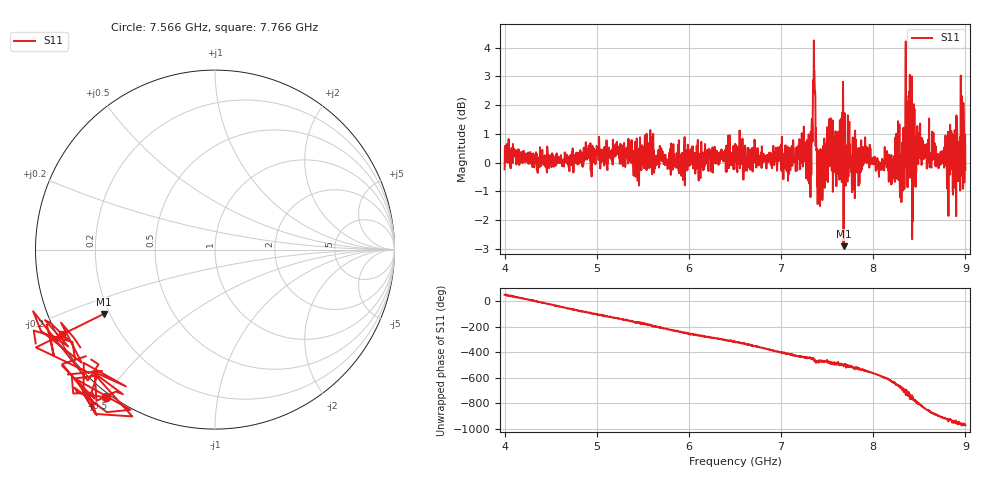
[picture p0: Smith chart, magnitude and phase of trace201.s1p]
! Created with skrf 1.8.0 (http://scikit-rf.org).
# Hz S RI R 50.0
!freq ReS11 ImS11
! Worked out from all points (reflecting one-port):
!   1601 points, 4 GHz to 9 GHz, reference 50 ohm
!   lowest |S11| = -2.9 dB at 7.678 GHz (marker M1), VSWR 6.02, Z = 8.88 - j13 ohm
!   phase of S11 starts at 51 deg and turns -1024 deg over the sweep
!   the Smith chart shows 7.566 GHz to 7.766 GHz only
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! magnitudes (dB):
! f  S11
! 4 GHz  -0.2
! 4.625 GHz  -0.1
! 5.25 GHz  0.0
! 5.875 GHz  0.0
! 6.5 GHz  0.6
! 7.125 GHz  0.1
! 7.303 GHz  -0.7
! 7.356 GHz  4.3
! 7.369 GHz  2.5
! 7.4 GHz  -0.6
! 7.416 GHz  -0.6
! 7.519 GHz  0.1
! 7.609 GHz  -0.3
! 7.678 GHz  -2.9
! 7.703 GHz  0.1
! 7.75 GHz  0.3
! 7.775 GHz  0.6
! 7.928 GHz  0.0
! 8.209 GHz  -0.5
! 8.259 GHz  -0.2
! 8.312 GHz  0.7
! 8.338 GHz  -0.9
! 8.375 GHz  2.1
! 8.447 GHz  1.9
! 8.497 GHz  1.0
! 8.875 GHz  -0.4
! 8.959 GHz  2.3
! 9 GHz  -0.3
